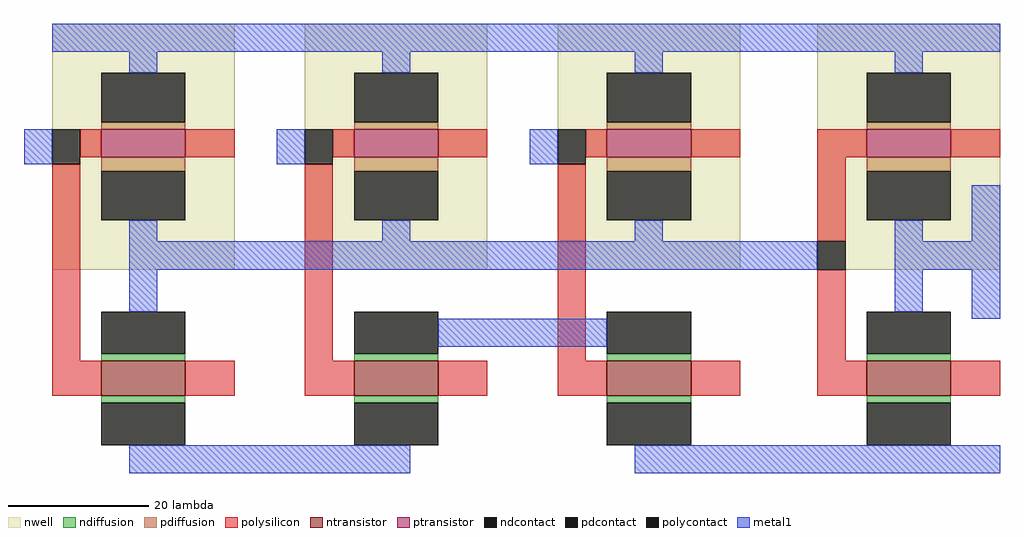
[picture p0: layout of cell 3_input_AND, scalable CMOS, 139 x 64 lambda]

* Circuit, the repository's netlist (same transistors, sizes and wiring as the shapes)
* SPICE3 file created from 3in_AND.ext - technology: scmos

.option scale=0.09u

M1000 a_n2_n23# a_27_n28# a_34_n35# Gnd nfet w=12 l=5
+  ad=168 pd=76 as=168 ps=76
M1001 a_n38_10# a_n38_n23# a_71_n23# w_64_n10# pfet w=12 l=4
+  ad=384 pd=160 as=108 ps=42
M1002 a_n38_n23# a_n45_n28# a_n38_n35# Gnd nfet w=12 l=5
+  ad=84 pd=38 as=168 ps=76
M1003 a_n38_10# a_27_n28# a_n38_n23# w_27_n10# pfet w=12 l=4
+  ad=0 pd=0 as=324 ps=126
M1004 a_n38_10# a_n9_n28# a_n38_n23# w_n9_n10# pfet w=12 l=4
+  ad=0 pd=0 as=0 ps=0
M1005 a_n2_n23# a_n9_n28# a_n38_n35# Gnd nfet w=12 l=5
+  ad=0 pd=0 as=0 ps=0
M1006 a_71_n23# a_n38_n23# a_34_n35# Gnd nfet w=12 l=5
+  ad=84 pd=38 as=0 ps=0
M1007 a_n38_10# a_n45_n28# a_n38_n23# w_n45_n10# pfet w=12 l=4
+  ad=0 pd=0 as=0 ps=0

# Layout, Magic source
magic
tech scmos
<< nwell >>
rect -45 -10 -19 25
rect -9 -10 17 25
rect 27 -10 53 25
rect 64 -10 90 25
<< ntransistor >>
rect -38 -28 -26 -23
rect -2 -28 10 -23
rect 34 -28 46 -23
rect 71 -28 83 -23
<< ptransistor >>
rect -38 6 -26 10
rect -2 6 10 10
rect 34 6 46 10
rect 71 6 83 10
<< ndiffusion >>
rect -38 -23 -26 -22
rect -2 -23 10 -22
rect 34 -23 46 -22
rect 71 -23 83 -22
rect -38 -29 -26 -28
rect -2 -29 10 -28
rect 34 -29 46 -28
rect 71 -29 83 -28
<< pdiffusion >>
rect -38 10 -26 11
rect -2 10 10 11
rect 34 10 46 11
rect 71 10 83 11
rect -38 4 -26 6
rect -2 4 10 6
rect 34 4 46 6
rect 71 4 83 6
<< ndcontact >>
rect -38 -22 -26 -16
rect -2 -22 10 -16
rect 34 -22 46 -16
rect 71 -22 83 -16
rect -38 -35 -26 -29
rect -2 -35 10 -29
rect 34 -35 46 -29
rect 71 -35 83 -29
<< pdcontact >>
rect -38 11 -26 18
rect -2 11 10 18
rect 34 11 46 18
rect 71 11 83 18
rect -38 -3 -26 4
rect -2 -3 10 4
rect 34 -3 46 4
rect 71 -3 83 4
<< polysilicon >>
rect -41 6 -38 10
rect -26 6 -19 10
rect -45 -23 -41 5
rect -5 6 -2 10
rect 10 6 17 10
rect -9 -23 -5 5
rect 31 6 34 10
rect 46 6 53 10
rect 64 6 71 10
rect 83 6 90 10
rect 27 -23 31 5
rect 64 -6 68 6
rect 64 -23 68 -10
rect -45 -28 -38 -23
rect -26 -28 -19 -23
rect -9 -28 -2 -23
rect 10 -28 17 -23
rect 27 -28 34 -23
rect 46 -28 53 -23
rect 64 -28 71 -23
rect 83 -28 90 -23
<< polycontact >>
rect -45 5 -41 10
rect -9 5 -5 10
rect 27 5 31 10
rect 64 -10 68 -6
<< metal1 >>
rect -45 21 90 25
rect -34 18 -30 21
rect 2 18 6 21
rect 38 18 42 21
rect 75 18 79 21
rect -49 5 -45 10
rect -13 5 -9 10
rect 23 5 27 10
rect -34 -6 -30 -3
rect 2 -6 6 -3
rect 38 -6 42 -3
rect 75 -6 79 -3
rect 86 -6 90 2
rect -34 -10 64 -6
rect 75 -10 90 -6
rect -34 -16 -30 -10
rect 75 -16 79 -10
rect 10 -21 34 -17
rect 86 -17 90 -10
rect -34 -39 6 -35
rect 38 -39 90 -35
<< end >>
